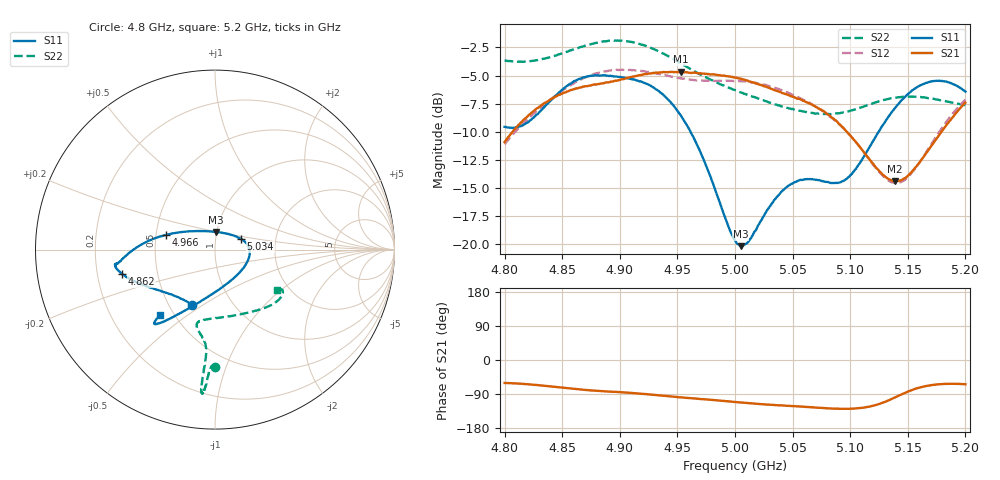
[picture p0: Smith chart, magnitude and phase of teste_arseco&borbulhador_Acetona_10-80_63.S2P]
! Network Analyzer HP8722D
! Hewlett-Packard
! Data name: Linha & Wilkinson
! Saver's name: Rodrigo Anjos
! Comments: Teste da utilização de aquisição
! continua pelo VNA HP8722D
! Time and date: 17/4/2025 14:53
!  Frequency  S11  S21  S12  S22
# HZ  S  MA R 50
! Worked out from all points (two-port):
!   401 points, 4.8 GHz to 5.2 GHz, reference 50 ohm
!   highest |S21| = -4.67 dB at 4.953 GHz (marker M1); lowest = -14.4 dB at 5.139 GHz (marker M2)
!   |S21| within 3 dB of the highest: 4.832 GHz to 5.068 GHz (236.4 MHz wide, 4.78 % of centre); 5.19761 GHz to end of sweep
!   lowest |S11| = -20.2 dB at 5.005 GHz (marker M3), VSWR 1.22, Z = 49.6 + j9.81 ohm
!   |S11| at or under -10 dB: 4.961 GHz to 5.125 GHz (163.3 MHz wide, 3.24 % of centre)
!   |S22| runs from -8.4 to -1.9 dB; largest |S21 - S12| = 0.87
!   S11 on the Smith chart (normalised r, x): 4.8 GHz: 0.65, -0.45; 4.862 GHz: 0.31, -0.12; 4.966 GHz: 0.57, +0.10; 5.034 GHz: 1.33, +0.16; 5.2 GHz: 0.42, -0.40
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4.8e9  0.3325 -113.0  0.2847 -60.7  0.2786 -174.8  0.6557 -89.9
4.819e9  0.3462 -132.8  0.3665 -63.8  0.3553 -173.3  0.6502 -91.4
4.862e9  0.535 -165.3  0.4939 -76.6  0.5266 -176.5  0.7411 -93.6
4.867e9  0.548 -167.2  0.4989 -78.3  0.5416 -177.5  0.7558 -93.7
4.9e9  0.5539 -171.9  0.5379 -84.9  0.5959 175.9  0.8037 -95.1
4.934e9  0.4793 -177.8  0.5793 -93.2  0.573 172.1  0.7191 -95.6
4.953e9  0.3735 172.5  0.5843 -98.5  0.5449 172.6  0.6366 -95.0
4.966e9  0.2841 163.2  0.578 -101.7  0.5358 174.0  0.5833 -94.8
5e9  0.104 103.6  0.5509 -110.9  0.5336 176.4  0.4843 -99.0
5.005e9  0.09808 86.6  0.543 -112.3  0.5295 176.2  0.4728 -100.3
5.013e9  0.1051 60.8  0.5291 -114.3  0.525 176.2  0.4569 -102.0
5.034e9  0.1573 22.3  0.4848 -118.9  0.4973 175.1  0.4199 -103.5
5.048e9  0.1845 7.8  0.456 -121.1  0.4678 174.4  0.4008 -100.5
5.067e9  0.1948 -12.2  0.4174 -124.7  0.4191 173.8  0.3828 -91.2
5.087e9  0.1874 -44.3  0.3563 -128.5  0.3546 173.8  0.3815 -75.9
5.097e9  0.1953 -64.9  0.3167 -129.0  0.317 174.4  0.3885 -67.6
5.134e9  0.3738 -115.8  0.1941 -105.5  0.1905 -158.6  0.4438 -42.9
5.139e9  0.4049 -118.9  0.1906 -98.7  0.1872 -150.5  0.4483 -40.8
5.151e9  0.4692 -123.9  0.2037 -82.3  0.2012 -131.8  0.4532 -36.3
5.17e9  0.5289 -128.4  0.2712 -66.5  0.2766 -112.7  0.4447 -31.8
5.184e9  0.5269 -129.7  0.3419 -63.0  0.353 -107.2  0.4312 -30.8
5.2e9  0.4769 -130.2  0.426 -64.0  0.4386 -106.2  0.415 -33.1
